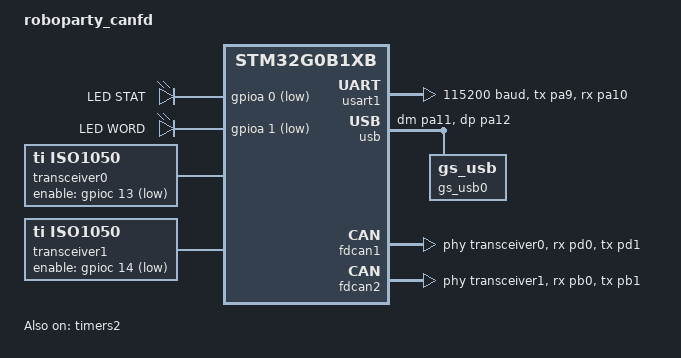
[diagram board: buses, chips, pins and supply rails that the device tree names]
/dts-v1/;
/*
 * Copyright (c) 2024 Sean Nyekjaer <sean@geanix.com>
 *
 *  SPDX-License-Identifier: Apache-2.0
 */

#include <st/g0/stm32g0b1Xb.dtsi>
#include <st/g0/stm32g0b1r(b-c-e)tx-pinctrl.dtsi>

/ {
    model = "roboparty_canfd";
    compatible = "candlelightfd";

    chosen {
        zephyr,sram = &sram0;
        zephyr,flash = &flash0;
        zephyr,code-partition = &slot0_partition;
        zephyr,canbus = &fdcan1;
        zephyr,console = &usart1;  /* 添加控制台 */
        zephyr,shell-uart = &usart1;  /* 添加 shell */
    };

    aliases {
        led0 = &led_stat;           // 主状态指示灯
        mcuboot-led0 = &led_word;   // DFU 指示灯
    };

    leds {
        compatible = "gpio-leds";

        led_stat: led_stat {
            gpios = <&gpioa 0 GPIO_ACTIVE_LOW>;
            label = "LED STAT";
        };

        led_word: led_word {
            gpios = <&gpioa 1 GPIO_ACTIVE_LOW>;
            label = "LED WORD";
        };
    };

    transceiver0: can-phy0 {
        compatible = "ti,iso1050", "can-transceiver-gpio";
        enable-gpios = <&gpioc 13 GPIO_ACTIVE_LOW>;  /* 使用未使用的引脚 */
        max-bitrate = <5000000>;
        #phy-cells = <0>;
    };

    transceiver1: can-phy1 {
        compatible = "ti,iso1050", "can-transceiver-gpio";
        enable-gpios = <&gpioc 14 GPIO_ACTIVE_LOW>;  /* 使用未使用的引脚 */
        max-bitrate = <5000000>;
        #phy-cells = <0>;
    };

    cannectivity: cannectivity {
        compatible = "cannectivity";
        timestamp-counter = <&counter2>;

        channel0 {
            compatible = "cannectivity-channel";
            can-controller = <&fdcan1>;
            // state-led = <&led_stat>;
            // activity-leds = <&led_stat>;
        };

        channel1 {
            compatible = "cannectivity-channel";
            can-controller = <&fdcan2>;
            // state-led = <&led_word>;
            // activity-leds = <&led_word>;
        };
    };
};

&clk_hsi {
    status = "okay";
};

&clk_hsi48 {
    status = "okay";
    crs-usb-sof;
};

&pll {
    div-m = <1>;
    mul-n = <8>;
    div-p = <2>;
    div-q = <2>;
    div-r = <2>;
    clocks = <&clk_hsi>;
    status = "okay";
};

&rcc {
    clocks = <&pll>;
    clock-frequency = <DT_FREQ_M(64)>;
    ahb-prescaler = <1>;
    apb1-prescaler = <1>;
};

&usart1 {
    pinctrl-0 = <&usart1_tx_pa9 &usart1_rx_pa10>;
    pinctrl-names = "default";
    current-speed = <115200>;
    status = "okay";
};

zephyr_udc0: &usb {
    pinctrl-0 = <&usb_dm_pa11 &usb_dp_pa12>;
    pinctrl-names = "default";
    status = "okay";

    /* gs_usb 设备节点 */
    gs_usb0: gs_usb0 {
        compatible = "gs_usb";
    };
};

&fdcan1 {
    clocks = <&rcc STM32_CLOCK(APB1, 12)>,
         <&rcc STM32_SRC_PLL_Q FDCAN_SEL(1)>;
    pinctrl-0 = <&fdcan1_rx_pd0 &fdcan1_tx_pd1>;
    pinctrl-names = "default";
    phys = <&transceiver0>; 
    status = "okay";
};

&fdcan2 {
    clocks = <&rcc STM32_CLOCK(APB1, 12)>,
         <&rcc STM32_SRC_PLL_Q FDCAN_SEL(1)>;
    pinctrl-0 = <&fdcan2_rx_pb0 &fdcan2_tx_pb1>;
    pinctrl-names = "default";
    phys = <&transceiver1>;
    status = "okay";
};

/* 1MHz 时间戳计数器 (64MHz / 64 = 1MHz) */
&timers2 {
    status = "okay";
    st,prescaler = <63>;

    counter2: counter {
        compatible = "st,stm32-counter";
        status = "okay";
    };
};

&flash0 {
    partitions {
        compatible = "fixed-partitions";
        #address-cells = <1>;
        #size-cells = <1>;

        boot_partition: partition@0 {
            label = "mcuboot";
            reg = <0x00000000 DT_SIZE_K(48)>;
            read-only;
        };

        slot0_partition: partition@c000 {
            label = "image-0";
            reg = <0x0000c000 DT_SIZE_K(80)>;
        };
    };
};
